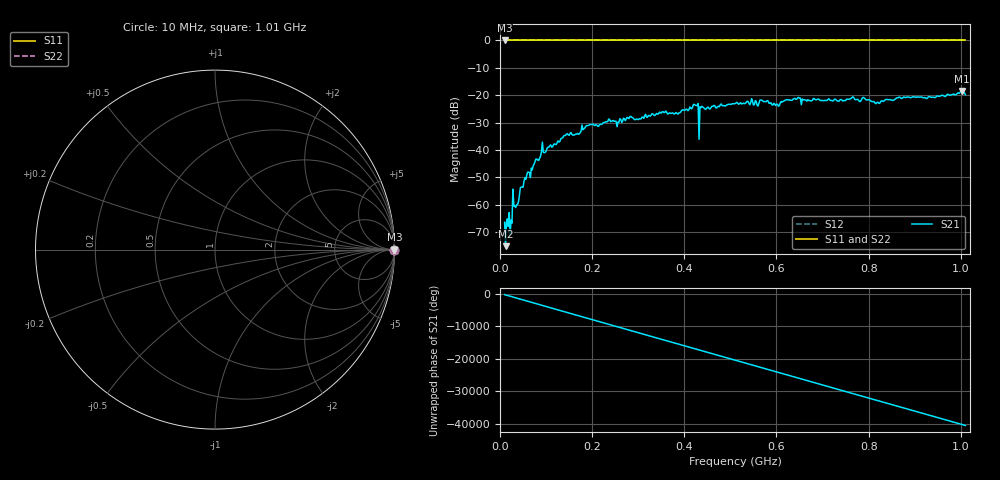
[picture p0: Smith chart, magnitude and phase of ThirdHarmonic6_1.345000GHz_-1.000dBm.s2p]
! 8/16/2025 3:06:55 PM
! C:\ANRITSUVNA\TEMP\TEMP.S2P
! CHANNEL.1
! TR.MEASUREMENT
! RAW.DATA
! RF.CORRECTION.OFF
! AVERAGING.OFF
! IF.BANDWIDTH: 5KHZ
! SWEEPTYPE:  FREQ.SWEEP(Linear)
! Reference Plane Port Info
! PORT:  PORT1  PORT2
! DISTANCE:  0  m  0  m
! TIME:  0  s  0  s
! PHASE.OFFSET:  0  deg.  0  deg.
! LOSS:  0  dB  0  dB
! REF.LOSS:  0  dB  0  dB
! REF.FREQ:  0  Hz  0  Hz
! Power Info
! POWER:  -20  dBm  -20  dBm
! EFF.POWER:  -20  dBm  -20  dBm
! SOURCE.ATTEN:  0  dB  0  dB
! TEST.ATTEN:  0  dB  0  dB
# GHZ S RI R 50.0
! FREQ.GHZ  S11RE  S11IM  S21RE  S21IM  S12RE  S12IM  S22RE  S22IM
!; PortSelection: Port_12
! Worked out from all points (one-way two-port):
!   501 points, 10 MHz to 1.01 GHz, reference 50 ohm
!   highest |S21| = -18.47 dB at 1.002 GHz (marker M1); lowest = -75.2 dB at 12 MHz (marker M2)
!   lowest |S11| = 0.0 dB at 10 MHz (marker M3)
!   |S11| at or under -10 dB: nowhere
!   |S22| runs from 0.0 to 0.0 dB; largest |S21 - S12| = 1.1
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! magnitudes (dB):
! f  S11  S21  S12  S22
! 10 MHz  0.0  -66.5  0.0  0.0
! 12 MHz  0.0  -75.2  0.0  0.0
! 22 MHz  0.0  -71.1  0.0  0.0
! 32 MHz  0.0  -60.4  0.0  0.0
! 38 MHz  0.0  -60.0  0.0  0.0
! 56 MHz  0.0  -50.8  0.0  0.0
! 90 MHz  0.0  -40.5  0.0  0.0
! 178 MHz  0.0  -30.9  0.0  0.0
! 344 MHz  0.0  -26.8  0.0  0.0
! 388 MHz  0.0  -26.5  0.0  0.0
! 426 MHz  0.0  -23.8  0.0  0.0
! 428 MHz  0.0  -23.8  0.0  0.0
! 436 MHz  0.0  -24.6  0.0  0.0
! 438 MHz  0.0  -24.1  0.0  0.0
! 510 MHz  0.0  -23.1  0.0  0.0
! 568 MHz  0.0  -21.8  0.0  0.0
! 602 MHz  0.0  -23.3  0.0  0.0
! 622 MHz  0.0  -21.6  0.0  0.0
! 678 MHz  0.0  -21.9  0.0  0.0
! 844 MHz  0.0  -21.7  0.0  0.0
! 1.002 GHz  0.0  -18.5  0.0  0.0
! 1.01 GHz  0.0  -19.8  0.0  0.0
